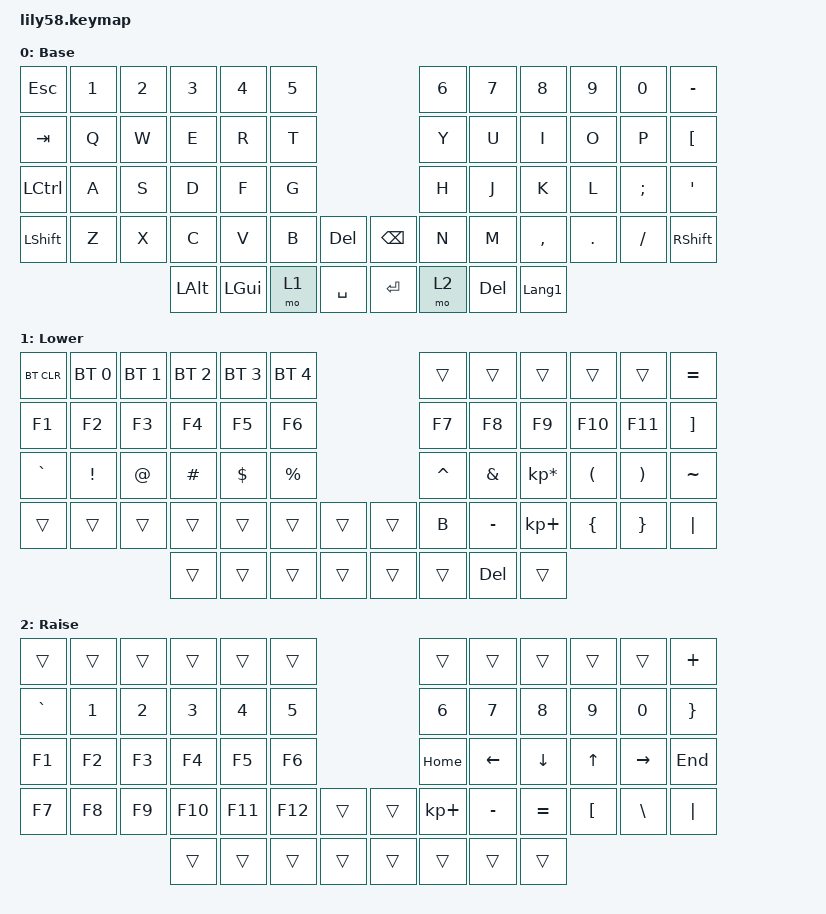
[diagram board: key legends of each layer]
/*
 * Copyright (c) 2020 The ZMK Contributors
 *
 * SPDX-License-Identifier: MIT
 */

#include <behaviors.dtsi>
#include <dt-bindings/zmk/bt.h>
#include <dt-bindings/zmk/keys.h>

/ {
    combos {
        compatible = "zmk,combos";

        combo_hangul_b {
            bindings = <&kp B>;
            key-positions = <44 45>;
        };
    };

    keymap {
        compatible = "zmk,keymap";

        default_layer {
            // ------------------------------------------------------------------------------------------------------------
            // |  ESC  |  1  |  2  |  3   |  4   |  5   |                   |  6   |  7    |  8    |  9   |   0   |   `   |
            // |  TAB  |  Q  |  W  |  E   |  R   |  T   |                   |  Y   |  U    |  I    |  O   |   P   |   -   |
            // |  CTRL |  A  |  S  |  D   |  F   |  G   |                   |  H   |  J    |  K    |  L   |   ;   |   '   |
            // | SHIFT |  Z  |  X  |  C   |  V   |  B   |   "["  |  |  "]"  |  N   |  M    |  ,    |  .   |   /   | SHIFT |
            //                     | ALT  | GUI  | LOWER|  SPACE |  | ENTER | RAISE| BSPC  | GUI   |

            display-name = "Base";
            bindings = <
&kp ESC    &kp N1  &kp N2  &kp N3    &kp N4    &kp N5                               &kp N6  &kp N7      &kp N8          &kp N9   &kp N0    &kp MINUS
&kp TAB    &kp Q   &kp W   &kp E     &kp R     &kp T                                &kp Y   &kp U       &kp I           &kp O    &kp P     &kp LEFT_BRACKET
&kp LCTRL  &kp A   &kp S   &kp D     &kp F     &kp G                                &kp H   &kp J       &kp K           &kp L    &kp SEMI  &kp SQT
&kp LSHFT  &kp Z   &kp X   &kp C     &kp V     &kp B   &kp DELETE    &kp BACKSPACE  &kp N   &kp M       &kp COMMA       &kp DOT  &kp FSLH  &kp RSHFT
                           &kp LALT  &kp LGUI  &mo 1   &kp SPACE     &kp ENTER      &mo 2   &kp DELETE  &kp LANGUAGE_1
            >;
        };

        lower_layer {
            // ------------------------------------------------------------------------------------------------------------
            // | BTCLR | BT1 | BT2 |  BT3 |  BT4 |  BT5 |                   |      |       |       |      |       |       |
            // |  F1   |  F2 |  F3 |  F4  |  F5  |  F6  |                   |  F7  |  F8   |  F9   |  F10 |  F11  |  F12  |
            // |   `   |  !  |  @  |  #   |  $   |  %   |                   |  ^   |  &    |  *    |  (   |   )   |   ~   |
            // |       |     |     |      |      |      |        |  |       |      |  _    |  +    |  {   |   }   |  "|"  |
            //                     |      |      |      |        |  |       |      |       |       |

            display-name = "Lower";
            bindings = <
&bt BT_CLR  &bt BT_SEL 0  &bt BT_SEL 1  &bt BT_SEL 2  &bt BT_SEL 3  &bt BT_SEL 4                    &trans     &trans      &trans           &trans    &trans    &kp EQUAL
&kp F1      &kp F2        &kp F3        &kp F4        &kp F5        &kp F6                          &kp F7     &kp F8      &kp F9           &kp F10   &kp F11   &kp RBKT
&kp GRAVE   &kp EXCL      &kp AT        &kp HASH      &kp DOLLAR    &kp PRCNT                       &kp CARET  &kp AMPS    &kp KP_MULTIPLY  &kp LPAR  &kp RPAR  &kp TILDE
&trans      &trans        &trans        &trans        &trans        &trans        &trans    &trans  &kp B      &kp MINUS   &kp KP_PLUS      &kp LBRC  &kp RBRC  &kp PIPE
                                        &trans        &trans        &trans        &trans    &trans  &trans     &kp DELETE  &trans
            >;
        };

        raise_layer {
            // ------------------------------------------------------------------------------------------------------------
            // |       |     |     |      |      |      |                   |      |       |       |      |       |       |
            // |   `   |  1  |  2  |  3   |  4   |  5   |                   |  6   |   7   |   8   |  9   |   0   |       |
            // |   F1  |  F2 |  F3 |  F4  |  F5  |  F6  |                   |      |   <-  |   v   |  ^   |  ->   |       |
            // |   F7  |  F8 |  F9 |  F10 |  F11 |  F12 |        |  |       |  +   |   -   |   =   |  [   |   ]   |   \   |
            //                     |      |      |      |        |  |       |      |       |       |

            display-name = "Raise";
            bindings = <
&trans     &trans  &trans  &trans   &trans   &trans                     &trans       &trans     &trans     &trans    &trans         &kp PLUS
&kp GRAVE  &kp N1  &kp N2  &kp N3   &kp N4   &kp N5                     &kp N6       &kp N7     &kp N8     &kp N9    &kp N0         &kp RIGHT_BRACE
&kp F1     &kp F2  &kp F3  &kp F4   &kp F5   &kp F6                     &kp HOME     &kp LEFT   &kp DOWN   &kp UP    &kp RIGHT      &kp END
&kp F7     &kp F8  &kp F9  &kp F10  &kp F11  &kp F12  &trans    &trans  &kp KP_PLUS  &kp MINUS  &kp EQUAL  &kp LBKT  &kp BACKSLASH  &kp PIPE
                           &trans   &trans   &trans   &trans    &trans  &trans       &trans     &trans
            >;
        };
    };
};
